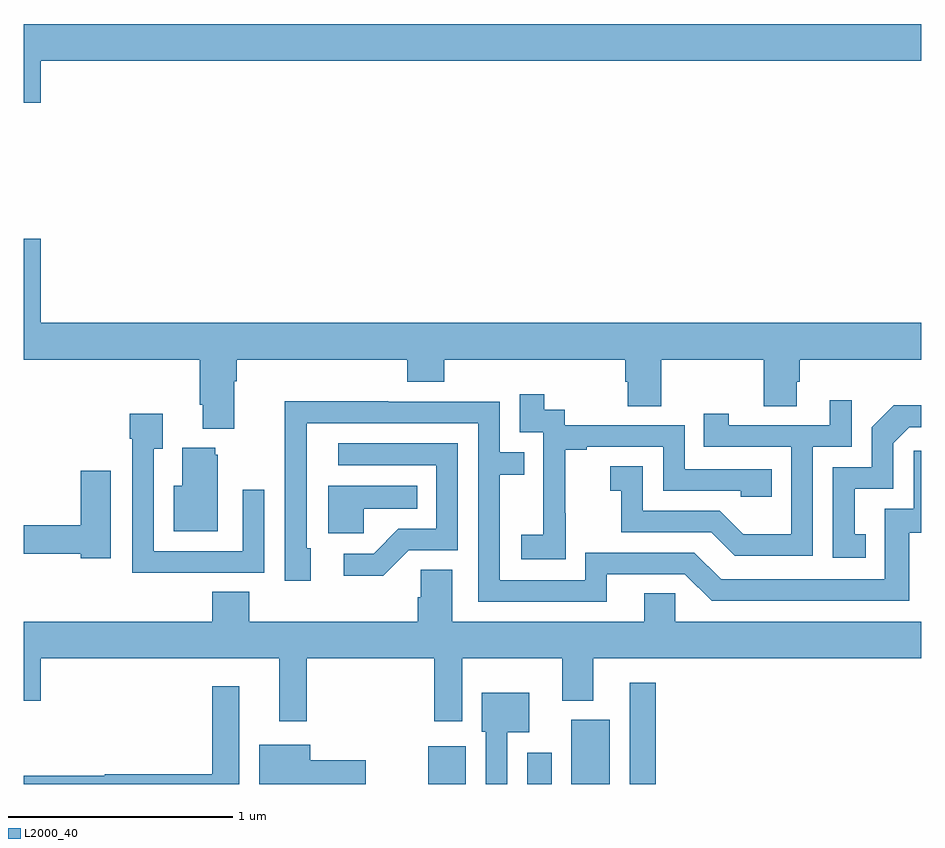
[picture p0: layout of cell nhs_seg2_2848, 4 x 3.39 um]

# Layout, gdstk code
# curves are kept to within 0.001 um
import gdstk
lib = gdstk.Library(unit=1e-6, precision=1e-09)
def R(c, l, rs):  # rectangles x0, y0, x1, y1
    for r in rs: c.add(gdstk.rectangle(r[:2], r[2:], *l))
def P(c, l, *ps):  # polygons
    for p in ps: c.add(gdstk.Polygon(p, *l))
L2000_40 = (2000, 40)

nhs_seg2_2848 = lib.new_cell('nhs_seg2_2848')
R(nhs_seg2_2848, L2000_40, [(262.802,589.8,262.969,589.969), (263.243,589.8,263.353,589.939), (263.441,589.8,263.611,590.086), (263.7,589.8,263.816,590.251)])
P(nhs_seg2_2848, L2000_40, [(261.076,593.024),(265,593.024),(265,593.188),(261,593.188),(261,592.836),(261.076,592.836)],
  [(261.937,591.596),(261.95,591.596),(261.95,591.692),(262.709,591.692),(262.709,591.593),(262.874,591.593),(262.874,591.692),(263.681,591.692),(263.681,591.594),(263.693,591.594),(263.693,591.484),(263.841,591.484),(263.841,591.692),(264.298,591.692),(264.298,591.484),(264.445,591.484),(264.445,591.594),(264.458,591.594),(264.458,591.692),(265,591.692),(265,591.856),(261.076,591.856),(261.076,592.231),(261,592.231),(261,591.692),(261.785,591.692),(261.785,591.49),(261.797,591.49),(261.797,591.383),(261.937,591.383)],
  [(263.415,591.007),(263.414,591.007),(263.414,591.291),(263.509,591.291),(263.509,591.303),(263.85,591.303),(263.85,591.108),(264.195,591.108),(264.195,591.081),(264.335,591.081),(264.335,591.204),(263.946,591.204),(263.946,591.399),(263.412,591.399),(263.412,591.468),(263.32,591.468),(263.32,591.538),(263.211,591.538),(263.211,591.369),(263.316,591.369),(263.316,591.14),(263.315,591.14),(263.315,590.911),(263.217,590.911),(263.217,590.801),(263.415,590.801)],
  [(264.516,591.303),(264.69,591.303),(264.69,591.511),(264.593,591.511),(264.593,591.399),(264.142,591.399),(264.142,591.451),(264.031,591.451),(264.031,591.303),(264.42,591.303),(264.42,590.914),(264.206,590.914),(264.102,591.018),(263.76,591.018),(263.76,591.217),(263.613,591.217),(263.613,591.107),(263.662,591.107),(263.662,590.922),(264.065,590.922),(264.17,590.817),(264.516,590.817)],
  [(263.599,590.736),(263.946,590.736),(264.066,590.616),(264.946,590.616),(264.946,590.919),(265,590.919),(265,591.286),(264.966,591.286),(264.966,591.027),(264.837,591.027),(264.837,590.712),(264.108,590.712),(263.988,590.832),(263.502,590.832),(263.502,590.709),(263.121,590.709),(263.121,591.178),(263.231,591.178),(263.231,591.279),(263.121,591.279),(263.121,591.504),(262.625,591.504),(262.625,591.506),(262.162,591.506),(262.162,591.199),(262.164,591.199),(262.164,590.706),(262.279,590.706),(262.279,590.85),(262.26,590.85),(262.261,591.408),(263.025,591.408),(263.025,590.613),(263.599,590.613)],
  [(264.752,590.913),(264.703,590.913),(264.703,591.117),(264.876,591.117),(264.876,591.318),(264.948,591.39),(265,591.39),(265,591.488),(264.878,591.488),(264.78,591.39),(264.78,591.213),(264.606,591.213),(264.606,590.808),(264.752,590.808)],
  [(261.755,590.742),(262.071,590.742),(262.071,591.112),(261.975,591.112),(261.975,590.838),(261.579,590.838),(261.579,591.295),(261.619,591.295),(261.619,591.451),(261.471,591.451),(261.471,591.338),(261.483,591.338),(261.483,590.741),(261.755,590.741)],
  [(262.716,590.841),(262.935,590.841),(262.935,591.318),(262.401,591.318),(262.401,591.222),(262.839,591.222),(262.839,590.937),(262.67,590.937),(262.559,590.826),(262.425,590.826),(262.425,590.729),(262.603,590.729)],
  [(261.865,591.267),(261.854,591.267),(261.854,591.298),(261.707,591.298),(261.707,591.13),(261.668,591.13),(261.668,590.927),(261.865,590.927)],
  [(261.388,591.196),(261.254,591.196),(261.254,590.954),(261,590.954),(261,590.826),(261.254,590.826),(261.254,590.807),(261.388,590.807)],
  [(262.515,591.026),(262.754,591.026),(262.754,591.13),(262.358,591.13),(262.358,590.918),(262.515,590.918)],
  [(262.261,590.36),(262.829,590.36),(262.829,590.079),(262.954,590.079),(262.954,590.36),(263.399,590.36),(263.399,590.171),(263.539,590.171),(263.539,590.36),(265,590.36),(265,590.524),(263.904,590.524),(263.904,590.651),(263.765,590.651),(263.765,590.524),(262.909,590.524),(262.909,590.756),(262.77,590.756),(262.77,590.633),(262.757,590.633),(262.757,590.524),(262.004,590.524),(262.004,590.657),(261.839,590.657),(261.839,590.524),(261,590.524),(261,590.172),(261.076,590.172),(261.076,590.36),(262.139,590.36),(262.139,590.079),(262.261,590.079)],
  [(261.961,590.236),(261.84,590.236),(261.84,589.844),(261.361,589.844),(261.361,589.837),(261,589.837),(261,589.8),(261.961,589.8)],
  [(263.154,590.03),(263.254,590.03),(263.254,590.206),(263.042,590.206),(263.042,590.034),(263.058,590.034),(263.058,589.8),(263.154,589.8)],
  [(262.525,589.905),(262.276,589.905),(262.276,589.975),(262.049,589.975),(262.049,589.8),(262.525,589.8)])

lib.write_gds('nhs_seg2_2848.gds')
